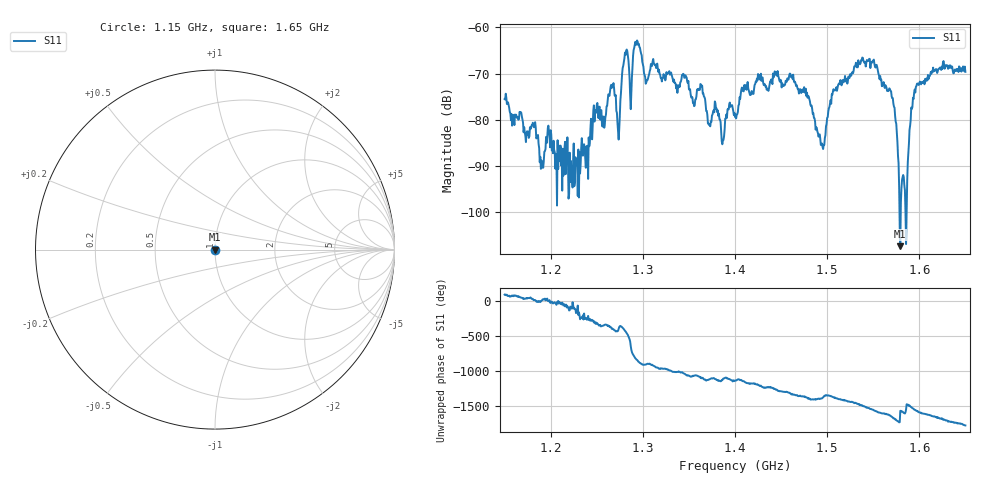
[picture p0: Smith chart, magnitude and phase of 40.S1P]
! C:\Users\rflab\Downloads\Lab5_KD_ZW\Q2\40.S1P
! Touchstone 1.1 file saved by VNA.EXE V1.65 (www.ke5fx.com/gpib/readme.htm)
! 11/12/2024 1:17:25 AM
!  Source: HEWLETT PACKARD,8753D,0,6.14
!  Min freq: 1.150000E+009 Hz
!  Max freq: 1.650000E+009 Hz
!  Points: 801
!  Params: S21
# GHZ S RI R 50
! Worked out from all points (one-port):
!   801 points, 1.15 GHz to 1.65 GHz, reference 50 ohm
!   lowest |S11| = -107.4 dB at 1.579 GHz (marker M1), VSWR 1.00, Z = 50 - j0.0003 ohm
!   |S11| at or under -10 dB: start of sweep to end of sweep
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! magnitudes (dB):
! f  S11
! 1.15 GHz  -75.5
! 1.159 GHz  -79.0
! 1.212 GHz  -95.4
! 1.258 GHz  -79.4
! 1.266 GHz  -73.1
! 1.275 GHz  -79.2
! 1.281 GHz  -65.4
! 1.287 GHz  -77.7
! 1.293 GHz  -63.4
! 1.304 GHz  -71.9
! 1.313 GHz  -68.1
! 1.337 GHz  -74.2
! 1.345 GHz  -70.9
! 1.355 GHz  -76.3
! 1.363 GHz  -72.4
! 1.373 GHz  -81.1
! 1.4 GHz  -79.4
! 1.409 GHz  -73.7
! 1.426 GHz  -70.7
! 1.462 GHz  -71.2
! 1.497 GHz  -85.5
! 1.525 GHz  -70.1
! 1.551 GHz  -67.9
! 1.579 GHz  -107.4
! 1.587 GHz  -89.2
! 1.597 GHz  -72.7
! 1.614 GHz  -69.7
! 1.65 GHz  -69.6
